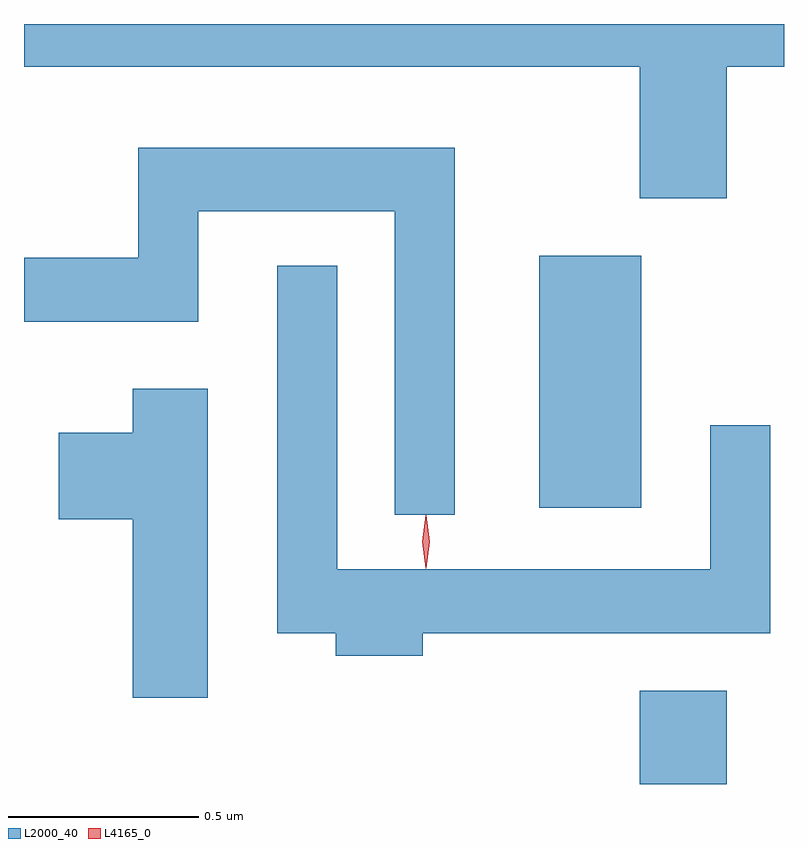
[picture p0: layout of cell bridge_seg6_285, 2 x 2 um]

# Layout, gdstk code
import gdstk
lib = gdstk.Library(unit=1e-6, precision=1e-09)
def R(c, l, rs):  # rectangles x0, y0, x1, y1
    for r in rs: c.add(gdstk.rectangle(r[:2], r[2:], *l))
def P(c, l, *ps):  # polygons
    for p in ps: c.add(gdstk.Polygon(p, *l))
L2000_40 = (2000, 40)
L4165_0 = (4165, 0)

bridge_seg6_285 = lib.new_cell('bridge_seg6_285')
R(bridge_seg6_285, L2000_40, [(1249.671,1548.149,1249.899,1548.394), (1249.406,1548.876,1249.674,1549.539)])
P(bridge_seg6_285, L2000_40, [(1249.899,1550.036),(1250.05,1550.036),(1250.05,1550.149),(1248.05,1550.149),(1248.05,1550.036),(1249.671,1550.036),(1249.671,1549.691),(1249.899,1549.691)],
  [(1249.184,1549.824),(1248.351,1549.824),(1248.351,1549.534),(1248.05,1549.534),(1248.05,1549.366),(1248.509,1549.366),(1248.509,1549.656),(1249.026,1549.656),(1249.026,1548.858),(1249.184,1548.858)],
  [(1249.099,1548.546),(1250.014,1548.546),(1250.014,1549.093),(1249.856,1549.093),(1249.856,1548.714),(1248.874,1548.714),(1248.874,1549.513),(1248.716,1549.513),(1248.716,1548.546),(1248.871,1548.546),(1248.871,1548.486),(1249.099,1548.486)],
  [(1248.534,1549.189),(1248.336,1549.189),(1248.336,1549.074),(1248.141,1549.074),(1248.141,1548.846),(1248.336,1548.846),(1248.336,1548.376),(1248.534,1548.376)])
P(bridge_seg6_285, L4165_0, [(1249.107,1548.717),(1249.098,1548.787),(1249.107,1548.856),(1249.108,1548.856),(1249.108,1548.856),(1249.118,1548.787),(1249.108,1548.717),(1249.108,1548.717)])

lib.write_gds('bridge_seg6_285.gds')
